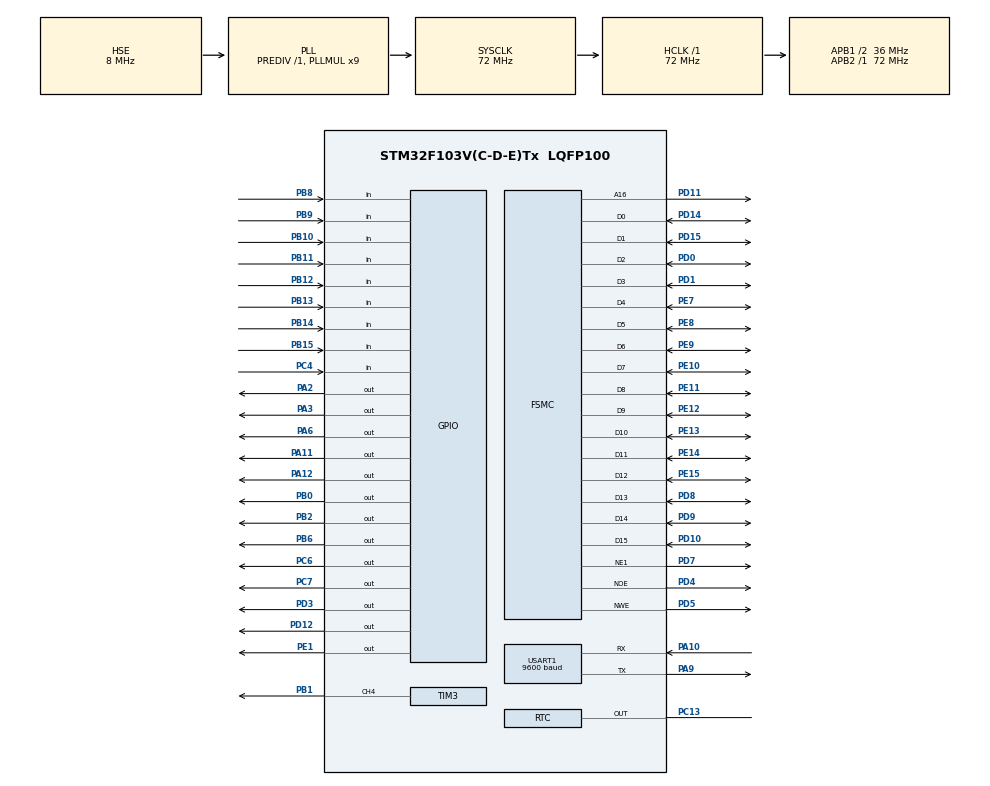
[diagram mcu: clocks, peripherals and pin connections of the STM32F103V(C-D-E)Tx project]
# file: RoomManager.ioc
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Mcu.Family=STM32F1
Mcu.Name=STM32F103V(C-D-E)Tx
Mcu.Package=LQFP100
NVIC.PriorityGroup=NVIC_PRIORITYGROUP_4
NVIC.RTC_Alarm_IRQn=true\:0\:0\:false\:false\:true\:true\:true\:true
OSC_IN.Mode=HSE-External-Oscillator
OSC_IN.Signal=RCC_OSC_IN
OSC_OUT.Mode=HSE-External-Oscillator
OSC_OUT.Signal=RCC_OSC_OUT
PA10.Mode=Asynchronous
PA10.Signal=USART1_RX
PA11.PinState=GPIO_PIN_RESET
PA11.Signal=GPIO_Output
PA12.GPIO_Speed=GPIO_SPEED_FREQ_HIGH
PA12.PinState=GPIO_PIN_RESET
PA12.Signal=GPIO_Output
PA13.Mode=Serial_Wire
PA13.Signal=SYS_JTMS-SWDIO
PA14.Mode=Serial_Wire
PA14.Signal=SYS_JTCK-SWCLK
PA2.Signal=GPIO_Output
PA3.Signal=GPIO_Output
PA6.GPIO_Speed=GPIO_SPEED_FREQ_HIGH
PA6.PinState=GPIO_PIN_SET
PA6.Signal=GPIO_Output
PA7.GPIO_Speed=GPIO_SPEED_FREQ_HIGH
PA7.Signal=S_TIM3_CH2
PA9.Mode=Asynchronous
PA9.Signal=USART1_TX
PB0.GPIO_Speed=GPIO_SPEED_FREQ_MEDIUM
PB0.PinState=GPIO_PIN_SET
PB0.Signal=GPIO_Output
PB1.Signal=S_TIM3_CH4
PB10.Signal=GPIO_Input
PB11.Signal=GPIO_Input
PB12.Signal=GPIO_Input
PB13.Signal=GPIO_Input
PB14.Signal=GPIO_Input
PB15.Signal=GPIO_Input
PB2.Signal=GPIO_Output
PB6.GPIO_Speed=GPIO_SPEED_FREQ_HIGH
PB6.Signal=GPIO_Output
PB8.Signal=GPIO_Input
PB9.Signal=GPIO_Input
PC13-TAMPER-RTC.Mode=RTC OUT
PC13-TAMPER-RTC.Signal=RTC_OUT
PC14-OSC32_IN.Mode=LSE-External-Oscillator
PC14-OSC32_IN.Signal=RCC_OSC32_IN
PC15-OSC32_OUT.Mode=LSE-External-Oscillator
PC15-OSC32_OUT.Signal=RCC_OSC32_OUT
PC4.Signal=GPIO_Input
PC6.Signal=GPIO_Output
PC7.Signal=GPIO_Output
PD0.Mode=16b-d1
PD0.Signal=FSMC_D2
PD1.Mode=16b-d1
PD1.Signal=FSMC_D3
PD10.Mode=16b-d1
PD10.Signal=FSMC_D15
PD11.Mode=A16_1
PD11.Signal=FSMC_A16
PD12.GPIO_Speed=GPIO_SPEED_FREQ_HIGH
PD12.Signal=GPIO_Output
PD14.Mode=16b-d1
PD14.Signal=FSMC_D0
PD15.Mode=16b-d1
PD15.Signal=FSMC_D1
PD3.Signal=GPIO_Output
PD4.Mode=Lcd1
PD4.Signal=FSMC_NOE
PD5.Mode=Lcd1
PD5.Signal=FSMC_NWE
PD7.Mode=NorPsramChipSelect1_1
PD7.Signal=FSMC_NE1
PD8.Mode=16b-d1
PD8.Signal=FSMC_D13
PD9.Mode=16b-d1
PD9.Signal=FSMC_D14
PE1.GPIO_Speed=GPIO_SPEED_FREQ_HIGH
PE1.Signal=GPIO_Output
PE10.Mode=16b-d1
PE10.Signal=FSMC_D7
PE11.Mode=16b-d1
PE11.Signal=FSMC_D8
PE12.Mode=16b-d1
PE12.Signal=FSMC_D9
PE13.Mode=16b-d1
PE13.Signal=FSMC_D10
PE14.Mode=16b-d1
PE14.Signal=FSMC_D11
PE15.Mode=16b-d1
PE15.Signal=FSMC_D12
PE7.Mode=16b-d1
PE7.Signal=FSMC_D4
PE8.Mode=16b-d1
PE8.Signal=FSMC_D5
PE9.Mode=16b-d1
PE9.Signal=FSMC_D6
ProjectManager.HeapSize=0x200
ProjectManager.StackSize=0x400
ProjectManager.TargetToolchain=STM32CubeIDE
RCC.AHBFreq_Value=72000000
RCC.APB1CLKDivider=RCC_HCLK_DIV2
RCC.APB1Freq_Value=36000000
RCC.APB1TimFreq_Value=72000000
RCC.APB2Freq_Value=72000000
RCC.APB2TimFreq_Value=72000000
RCC.HCLKFreq_Value=72000000
RCC.PLLMUL=RCC_PLL_MUL9
RCC.PLLSourceVirtual=RCC_PLLSOURCE_HSE
RCC.SYSCLKFreq_VALUE=72000000
RCC.SYSCLKSource=RCC_SYSCLKSOURCE_PLLCLK
RCC.USBFreq_Value=72000000
RTC.Date=25
RTC.Month=RTC_MONTH_NOVEMBER
RTC.Seconds_A-RTC\ OUT=30
RTC.Year=22
SH.S_TIM3_CH2.0=TIM3_CH2
SH.S_TIM3_CH4.0=TIM3_CH4,PWM Generation4 CH4
TIM2.Period=10
TIM3.Channel-PWM\ Generation4\ CH4=TIM_CHANNEL_4
TIM3.Period=10
TIM3.Pulse-PWM\ Generation4\ CH4=10
USART1.BaudRate=9600
USART1.VirtualMode=VM_ASYNC
VP_RTC_VS_RTC_Activate.Mode=RTC_Enabled
VP_RTC_VS_RTC_Calendar.Mode=RTC_Calendar
VP_TIM2_VS_ClockSourceINT.Mode=Internal
VP_TIM3_VS_ClockSourceINT.Mode=Internal
board=custom

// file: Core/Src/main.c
/* USER CODE BEGIN Header */
/**
  ******************************************************************************
  * @file           : main.c
  * @brief          : Main program body
  ******************************************************************************
  * @attention
  *
  * Copyright (c) 2022 STMicroelectronics.
  * All rights reserved.
  *
  * This software is licensed under terms that can be found in the LICENSE file
  * in the root directory of this software component.
  * If no LICENSE file comes with this software, it is provided AS-IS.
  *
  ******************************************************************************
  */
/* USER CODE END Header */
#include "main.h"

/* USER CODE BEGIN Includes */
#include "lcd.h"
#include "dht.h"
#include "fan.h"
#include "hc05.h"
#include "bsp_ov7725.h"
#include "bsp_sccb.h"

/* USER CODE END Includes */

 RTC_HandleTypeDef hrtc;

TIM_HandleTypeDef htim2;
TIM_HandleTypeDef htim3;

UART_HandleTypeDef huart1;

SRAM_HandleTypeDef hsram1;

/* USER CODE BEGIN PV */
uint8_t alarm_on = 0;
uint8_t ringing = 0;
uint8_t bonus_time = 0;
char rxData;
char rxString[7];
bool FAN_ON = true;
bool LCD_ON = true;
bool ALARM_ON = false;
bool DHT_ON = false;
char strConfig[100] = "";

/* USER CODE END PV */

void SystemClock_Config(void);
static void MX_GPIO_Init(void);
static void MX_FSMC_Init(void);
static void MX_TIM2_Init(void);
static void MX_TIM3_Init(void);
static void MX_RTC_Init(void);
static void MX_USART1_UART_Init(void);

/* USER CODE BEGIN PFP */

void set_time(uint8_t hours, uint8_t minutes, uint8_t seconds);
void set_alarm(uint8_t hours, uint8_t minutes, uint8_t seconds);
void display_time(void);
void HAL_RTC_AlarmAEventCallback(RTC_HandleTypeDef *hrtc);
void ring_alarm(void);
void display_alarm_time(void);

/* USER CODE END PFP */

int main(void)
{

  /* MCU Configuration--------------------------------------------------------*/

  /* Reset of all peripherals, Initializes the Flash interface and the Systick. */
  HAL_Init();

  /* Configure the system clock */
  SystemClock_Config();

  /* Initialize all configured peripherals */
  MX_GPIO_Init();
  MX_FSMC_Init();
  MX_TIM2_Init();
  MX_TIM3_Init();
  MX_RTC_Init();
  MX_USART1_UART_Init();
  /* USER CODE BEGIN 2 */
  LCD_INIT();
  //if(HAL_RTCEx_BKUPRead(&hrtc,RTC_BKP_DR1) != 0xFFFF){
  set_time(0x0,0x0,0x0);
  //}
  set_alarm(0x0,0x0,0x5);
  DWT_Delay_Init();
  DHT_Init(GPIOA,GPIO_PIN_6);
  HAL_TIM_PWM_Start(&htim2, TIM_CHANNEL_4);
  FAN_Init(&htim2,TIM_CHANNEL_4);

//  HAL_UART_Receive_IT(&huart3,rxString, 7);

  /* USER CODE END 2 */

  /* Infinite loop */
  /* USER CODE BEGIN WHILE */
  while (1)
  {
	  if (HAL_UART_Receive(&huart3,(uint8_t*)rxString,7,200)==HAL_OK) {
		  if(checkFanON(rxString)) FAN_ON = true;
		  else if(checkFanOFF(rxString))FAN_ON = false;
		  else if(checkLcdON(rxString)) LCD_ON = true;
		  else if(checkLcdOFF(rxString))LCD_ON = false;
		  else if (checkSummary(rxString)){
			int size = buildSummary(FAN_ON, LCD_ON, strConfig);
			HAL_UART_Transmit(&huart3, (uint8_t*)strConfig, size, 200);
		  }
	  }

	  if (!LCD_ON){
		  continue;
	  }
	  if (DHT_ON){
		  if(DHT_Check()){
//				  DHT_Get_DI() % 10;
				  if (FAN_ON) {
					  user_pwm_setvalue(&htim2, TIM_CHANNEL_4, 10);
				  }
			  }
	  }

    /* USER CODE END WHILE */

    /* USER CODE BEGIN 3 */
	 DHT_Display();
	 display_time();
	 display_alarm_time();

	 if(alarm_on){
		 ring_alarm();
	 }
  }
  /* USER CODE END 3 */
}

void SystemClock_Config(void)
{
  RCC_OscInitTypeDef RCC_OscInitStruct = {0};
  RCC_ClkInitTypeDef RCC_ClkInitStruct = {0};
  RCC_PeriphCLKInitTypeDef PeriphClkInit = {0};

  /** Initializes the RCC Oscillators according to the specified parameters
  * in the RCC_OscInitTypeDef structure.
  */
  RCC_OscInitStruct.OscillatorType = RCC_OSCILLATORTYPE_LSI|RCC_OSCILLATORTYPE_HSE;
  RCC_OscInitStruct.HSEState = RCC_HSE_ON;
  RCC_OscInitStruct.HSEPredivValue = RCC_HSE_PREDIV_DIV1;
  RCC_OscInitStruct.HSIState = RCC_HSI_ON;
  RCC_OscInitStruct.LSIState = RCC_LSI_ON;
  RCC_OscInitStruct.PLL.PLLState = RCC_PLL_ON;
  RCC_OscInitStruct.PLL.PLLSource = RCC_PLLSOURCE_HSE;
  RCC_OscInitStruct.PLL.PLLMUL = RCC_PLL_MUL9;
  if (HAL_RCC_OscConfig(&RCC_OscInitStruct) != HAL_OK)
  {
    Error_Handler();
  }

  /** Initializes the CPU, AHB and APB buses clocks
  */
  RCC_ClkInitStruct.ClockType = RCC_CLOCKTYPE_HCLK|RCC_CLOCKTYPE_SYSCLK
                              |RCC_CLOCKTYPE_PCLK1|RCC_CLOCKTYPE_PCLK2;
  RCC_ClkInitStruct.SYSCLKSource = RCC_SYSCLKSOURCE_PLLCLK;
  RCC_ClkInitStruct.AHBCLKDivider = RCC_SYSCLK_DIV1;
  RCC_ClkInitStruct.APB1CLKDivider = RCC_HCLK_DIV2;
  RCC_ClkInitStruct.APB2CLKDivider = RCC_HCLK_DIV1;

  if (HAL_RCC_ClockConfig(&RCC_ClkInitStruct, FLASH_LATENCY_2) != HAL_OK)
  {
    Error_Handler();
  }
  PeriphClkInit.PeriphClockSelection = RCC_PERIPHCLK_RTC;
  PeriphClkInit.RTCClockSelection = RCC_RTCCLKSOURCE_LSI;
  if (HAL_RCCEx_PeriphCLKConfig(&PeriphClkInit) != HAL_OK)
  {
    Error_Handler();
  }
}

static void MX_RTC_Init(void)
{

  RTC_TimeTypeDef sTime = {0};
  RTC_DateTypeDef DateToUpdate = {0};
  RTC_AlarmTypeDef sAlarm = {0};

  /** Initialize RTC Only
  */
  hrtc.Instance = RTC;
  hrtc.Init.AsynchPrediv = RTC_AUTO_1_SECOND;
  hrtc.Init.OutPut = RTC_OUTPUTSOURCE_ALARM;
  if (HAL_RTC_Init(&hrtc) != HAL_OK)
  {
    Error_Handler();
  }

  /** Initialize RTC and set the Time and Date
  */
  sTime.Hours = 0x0;
  sTime.Minutes = 0x0;
  sTime.Seconds = 0x0;

  if (HAL_RTC_SetTime(&hrtc, &sTime, RTC_FORMAT_BCD) != HAL_OK)
  {
    Error_Handler();
  }
  DateToUpdate.WeekDay = RTC_WEEKDAY_MONDAY;
  DateToUpdate.Month = RTC_MONTH_NOVEMBER;
  DateToUpdate.Date = 0x25;
  DateToUpdate.Year = 0x22;

  if (HAL_RTC_SetDate(&hrtc, &DateToUpdate, RTC_FORMAT_BCD) != HAL_OK)
  {
    Error_Handler();
  }

  /** Enable the Alarm A
  */
  sAlarm.AlarmTime.Hours = 0x0;
  sAlarm.AlarmTime.Minutes = 0x0;
  sAlarm.AlarmTime.Seconds = 0x30;
  sAlarm.Alarm = RTC_ALARM_A;
  if (HAL_RTC_SetAlarm_IT(&hrtc, &sAlarm, RTC_FORMAT_BCD) != HAL_OK)
  {
    Error_Handler();
  }

}

static void MX_TIM2_Init(void)
{

  TIM_ClockConfigTypeDef sClockSourceConfig = {0};
  TIM_MasterConfigTypeDef sMasterConfig = {0};

  htim2.Instance = TIM2;
  htim2.Init.Prescaler = 0;
  htim2.Init.CounterMode = TIM_COUNTERMODE_UP;
  htim2.Init.Period = 10;
  htim2.Init.ClockDivision = TIM_CLOCKDIVISION_DIV1;
  htim2.Init.AutoReloadPreload = TIM_AUTORELOAD_PRELOAD_DISABLE;
  if (HAL_TIM_Base_Init(&htim2) != HAL_OK)
  {
    Error_Handler();
  }
  sClockSourceConfig.ClockSource = TIM_CLOCKSOURCE_INTERNAL;
  if (HAL_TIM_ConfigClockSource(&htim2, &sClockSourceConfig) != HAL_OK)
  {
    Error_Handler();
  }
  sMasterConfig.MasterOutputTrigger = TIM_TRGO_RESET;
  sMasterConfig.MasterSlaveMode = TIM_MASTERSLAVEMODE_DISABLE;
  if (HAL_TIMEx_MasterConfigSynchronization(&htim2, &sMasterConfig) != HAL_OK)
  {
    Error_Handler();
  }

}

static void MX_TIM3_Init(void)
{

  TIM_ClockConfigTypeDef sClockSourceConfig = {0};
  TIM_MasterConfigTypeDef sMasterConfig = {0};
  TIM_OC_InitTypeDef sConfigOC = {0};

  htim3.Instance = TIM3;
  htim3.Init.Prescaler = 0;
  htim3.Init.CounterMode = TIM_COUNTERMODE_UP;
  htim3.Init.Period = 10;
  htim3.Init.ClockDivision = TIM_CLOCKDIVISION_DIV1;
  htim3.Init.AutoReloadPreload = TIM_AUTORELOAD_PRELOAD_DISABLE;
  if (HAL_TIM_Base_Init(&htim3) != HAL_OK)
  {
    Error_Handler();
  }
  sClockSourceConfig.ClockSource = TIM_CLOCKSOURCE_INTERNAL;
  if (HAL_TIM_ConfigClockSource(&htim3, &sClockSourceConfig) != HAL_OK)
  {
    Error_Handler();
  }
  if (HAL_TIM_PWM_Init(&htim3) != HAL_OK)
  {
    Error_Handler();
  }
  sMasterConfig.MasterOutputTrigger = TIM_TRGO_RESET;
  sMasterConfig.MasterSlaveMode = TIM_MASTERSLAVEMODE_DISABLE;
  if (HAL_TIMEx_MasterConfigSynchronization(&htim3, &sMasterConfig) != HAL_OK)
  {
    Error_Handler();
  }
  sConfigOC.OCMode = TIM_OCMODE_PWM1;
  sConfigOC.Pulse = 10;
  sConfigOC.OCPolarity = TIM_OCPOLARITY_HIGH;
  sConfigOC.OCFastMode = TIM_OCFAST_DISABLE;
  if (HAL_TIM_PWM_ConfigChannel(&htim3, &sConfigOC, TIM_CHANNEL_4) != HAL_OK)
  {
    Error_Handler();
  }
  HAL_TIM_MspPostInit(&htim3);

}

static void MX_USART1_UART_Init(void)
{

  huart1.Instance = USART1;
  huart1.Init.BaudRate = 9600;
  huart1.Init.WordLength = UART_WORDLENGTH_8B;
  huart1.Init.StopBits = UART_STOPBITS_1;
  huart1.Init.Parity = UART_PARITY_NONE;
  huart1.Init.Mode = UART_MODE_TX_RX;
  huart1.Init.HwFlowCtl = UART_HWCONTROL_NONE;
  huart1.Init.OverSampling = UART_OVERSAMPLING_16;
  if (HAL_UART_Init(&huart1) != HAL_OK)
  {
    Error_Handler();
  }

}

static void MX_GPIO_Init(void)
{
  GPIO_InitTypeDef GPIO_InitStruct = {0};

  /* GPIO Ports Clock Enable */
  __HAL_RCC_GPIOC_CLK_ENABLE();
  __HAL_RCC_GPIOA_CLK_ENABLE();
  __HAL_RCC_GPIOB_CLK_ENABLE();
  __HAL_RCC_GPIOE_CLK_ENABLE();
  __HAL_RCC_GPIOD_CLK_ENABLE();

  /*Configure GPIO pin Output Level */
  HAL_GPIO_WritePin(GPIOA, GPIO_PIN_2|GPIO_PIN_3|GPIO_PIN_11|GPIO_PIN_12, GPIO_PIN_RESET);

  /*Configure GPIO pin Output Level */
  HAL_GPIO_WritePin(GPIOA, GPIO_PIN_6, GPIO_PIN_SET);

  /*Configure GPIO pin Output Level */
  HAL_GPIO_WritePin(GPIOB, GPIO_PIN_0, GPIO_PIN_SET);

  /*Configure GPIO pin Output Level */
  HAL_GPIO_WritePin(GPIOB, GPIO_PIN_2|GPIO_PIN_6, GPIO_PIN_RESET);

  /*Configure GPIO pin Output Level */
  HAL_GPIO_WritePin(GPIOD, GPIO_PIN_12|GPIO_PIN_3, GPIO_PIN_RESET);

  /*Configure GPIO pin Output Level */
  HAL_GPIO_WritePin(GPIOC, GPIO_PIN_6|GPIO_PIN_7, GPIO_PIN_RESET);

  /*Configure GPIO pin Output Level */
  HAL_GPIO_WritePin(GPIOE, GPIO_PIN_1, GPIO_PIN_RESET);

  /*Configure GPIO pins : PA2 PA3 PA11 */
  GPIO_InitStruct.Pin = GPIO_PIN_2|GPIO_PIN_3|GPIO_PIN_11;
  GPIO_InitStruct.Mode = GPIO_MODE_OUTPUT_PP;
  GPIO_InitStruct.Pull = GPIO_NOPULL;
  GPIO_InitStruct.Speed = GPIO_SPEED_FREQ_LOW;
  HAL_GPIO_Init(GPIOA, &GPIO_InitStruct);

  /*Configure GPIO pins : PA6 PA12 */
  GPIO_InitStruct.Pin = GPIO_PIN_6|GPIO_PIN_12;
  GPIO_InitStruct.Mode = GPIO_MODE_OUTPUT_PP;
  GPIO_InitStruct.Pull = GPIO_NOPULL;
  GPIO_InitStruct.Speed = GPIO_SPEED_FREQ_HIGH;
  HAL_GPIO_Init(GPIOA, &GPIO_InitStruct);

  /*Configure GPIO pin : PC4 */
  GPIO_InitStruct.Pin = GPIO_PIN_4;
  GPIO_InitStruct.Mode = GPIO_MODE_INPUT;
  GPIO_InitStruct.Pull = GPIO_NOPULL;
  HAL_GPIO_Init(GPIOC, &GPIO_InitStruct);

  /*Configure GPIO pin : PB0 */
  GPIO_InitStruct.Pin = GPIO_PIN_0;
  GPIO_InitStruct.Mode = GPIO_MODE_OUTPUT_PP;
  GPIO_InitStruct.Pull = GPIO_NOPULL;
  GPIO_InitStruct.Speed = GPIO_SPEED_FREQ_MEDIUM;
  HAL_GPIO_Init(GPIOB, &GPIO_InitStruct);

  /*Configure GPIO pin : PB2 */
  GPIO_InitStruct.Pin = GPIO_PIN_2;
  GPIO_InitStruct.Mode = GPIO_MODE_OUTPUT_PP;
  GPIO_InitStruct.Pull = GPIO_NOPULL;
  GPIO_InitStruct.Speed = GPIO_SPEED_FREQ_LOW;
  HAL_GPIO_Init(GPIOB, &GPIO_InitStruct);

  /*Configure GPIO pins : PB10 PB11 PB12 PB13
                           PB14 PB15 PB8 PB9 */
  GPIO_InitStruct.Pin = GPIO_PIN_10|GPIO_PIN_11|GPIO_PIN_12|GPIO_PIN_13
                          |GPIO_PIN_14|GPIO_PIN_15|GPIO_PIN_8|GPIO_PIN_9;
  GPIO_InitStruct.Mode = GPIO_MODE_INPUT;
  GPIO_InitStruct.Pull = GPIO_NOPULL;
  HAL_GPIO_Init(GPIOB, &GPIO_InitStruct);

  /*Configure GPIO pin : PD12 */
  GPIO_InitStruct.Pin = GPIO_PIN_12;
  GPIO_InitStruct.Mode = GPIO_MODE_OUTPUT_PP;
  GPIO_InitStruct.Pull = GPIO_NOPULL;
  GPIO_InitStruct.Speed = GPIO_SPEED_FREQ_HIGH;
  HAL_GPIO_Init(GPIOD, &GPIO_InitStruct);

  /*Configure GPIO pins : PC6 PC7 */
  GPIO_InitStruct.Pin = GPIO_PIN_6|GPIO_PIN_7;
  GPIO_InitStruct.Mode = GPIO_MODE_OUTPUT_PP;
  GPIO_InitStruct.Pull = GPIO_NOPULL;
  GPIO_InitStruct.Speed = GPIO_SPEED_FREQ_LOW;
  HAL_GPIO_Init(GPIOC, &GPIO_InitStruct);

  /*Configure GPIO pin : PD3 */
  GPIO_InitStruct.Pin = GPIO_PIN_3;
  GPIO_InitStruct.Mode = GPIO_MODE_OUTPUT_PP;
  GPIO_InitStruct.Pull = GPIO_NOPULL;
  GPIO_InitStruct.Speed = GPIO_SPEED_FREQ_LOW;
  HAL_GPIO_Init(GPIOD, &GPIO_InitStruct);

  /*Configure GPIO pin : PB6 */
  GPIO_InitStruct.Pin = GPIO_PIN_6;
  GPIO_InitStruct.Mode = GPIO_MODE_OUTPUT_PP;
  GPIO_InitStruct.Pull = GPIO_NOPULL;
  GPIO_InitStruct.Speed = GPIO_SPEED_FREQ_HIGH;
  HAL_GPIO_Init(GPIOB, &GPIO_InitStruct);

  /*Configure GPIO pin : PE1 */
  GPIO_InitStruct.Pin = GPIO_PIN_1;
  GPIO_InitStruct.Mode = GPIO_MODE_OUTPUT_PP;
  GPIO_InitStruct.Pull = GPIO_NOPULL;
  GPIO_InitStruct.Speed = GPIO_SPEED_FREQ_HIGH;
  HAL_GPIO_Init(GPIOE, &GPIO_InitStruct);

}

/* FSMC initialization function */
static void MX_FSMC_Init(void)
{

  FSMC_NORSRAM_TimingTypeDef Timing = {0};

  /** Perform the SRAM1 memory initialization sequence
  */
  hsram1.Instance = FSMC_NORSRAM_DEVICE;
  hsram1.Extended = FSMC_NORSRAM_EXTENDED_DEVICE;
  /* hsram1.Init */
  hsram1.Init.NSBank = FSMC_NORSRAM_BANK1;
  hsram1.Init.DataAddressMux = FSMC_DATA_ADDRESS_MUX_DISABLE;
  hsram1.Init.MemoryType = FSMC_MEMORY_TYPE_SRAM;
  hsram1.Init.MemoryDataWidth = FSMC_NORSRAM_MEM_BUS_WIDTH_16;
  hsram1.Init.BurstAccessMode = FSMC_BURST_ACCESS_MODE_DISABLE;
  hsram1.Init.WaitSignalPolarity = FSMC_WAIT_SIGNAL_POLARITY_LOW;
  hsram1.Init.WrapMode = FSMC_WRAP_MODE_DISABLE;
  hsram1.Init.WaitSignalActive = FSMC_WAIT_TIMING_BEFORE_WS;
  hsram1.Init.WriteOperation = FSMC_WRITE_OPERATION_ENABLE;
  hsram1.Init.WaitSignal = FSMC_WAIT_SIGNAL_DISABLE;
  hsram1.Init.ExtendedMode = FSMC_EXTENDED_MODE_DISABLE;
  hsram1.Init.AsynchronousWait = FSMC_ASYNCHRONOUS_WAIT_DISABLE;
  hsram1.Init.WriteBurst = FSMC_WRITE_BURST_DISABLE;
  /* Timing */
  Timing.AddressSetupTime = 15;
  Timing.AddressHoldTime = 15;
  Timing.DataSetupTime = 255;
  Timing.BusTurnAroundDuration = 15;
  Timing.CLKDivision = 16;
  Timing.DataLatency = 17;
  Timing.AccessMode = FSMC_ACCESS_MODE_A;
  /* ExtTiming */

  if (HAL_SRAM_Init(&hsram1, &Timing, NULL) != HAL_OK)
  {
    Error_Handler( );
  }

  /** Disconnect NADV
  */

  __HAL_AFIO_FSMCNADV_DISCONNECTED();

}

/* USER CODE BEGIN 4 */
void user_pwm_setvalue(TIM_HandleTypeDef *htim, uint32_t TIM_CHANNEL, uint16_t value)
{
    TIM_OC_InitTypeDef sConfigOC;
    HAL_TIM_PWM_Stop(htim, TIM_CHANNEL);
    sConfigOC.OCMode = TIM_OCMODE_PWM1;
    sConfigOC.Pulse = value;
    sConfigOC.OCPolarity = TIM_OCPOLARITY_HIGH;
    sConfigOC.OCFastMode = TIM_OCFAST_DISABLE;

    HAL_TIM_PWM_ConfigChannel(htim, &sConfigOC, TIM_CHANNEL);
    HAL_TIM_PWM_Start(htim, TIM_CHANNEL);
}
void set_time(uint8_t hours, uint8_t minutes, uint8_t seconds){
	/** Initialize RTC and set the Time and Date
	  */
	RTC_TimeTypeDef sTime;
	RTC_DateTypeDef DateToUpdate;
	sTime.Hours = hours;
	sTime.Minutes = minutes;
	sTime.Seconds = seconds;

	if (HAL_RTC_SetTime(&hrtc, &sTime, RTC_FORMAT_BCD) != HAL_OK)
	{
		Error_Handler();
	}
	DateToUpdate.WeekDay = RTC_WEEKDAY_THURSDAY;
	DateToUpdate.Month = RTC_MONTH_NOVEMBER;
	DateToUpdate.Date = 0x24;
	DateToUpdate.Year = 0x22;

	if (HAL_RTC_SetDate(&hrtc, &DateToUpdate, RTC_FORMAT_BCD) != HAL_OK)
	{
		Error_Handler();
	}
	HAL_RTCEx_BKUPWrite(&hrtc, RTC_BKP_DR1, 0xFFFF); // backup register
}
void set_alarm(uint8_t hours, uint8_t minutes, uint8_t seconds){
	/** Enable the Alarm A
	*/
	RTC_AlarmTypeDef sAlarm;
	sAlarm.AlarmTime.Hours = hours;
	sAlarm.AlarmTime.Minutes = minutes;
	sAlarm.AlarmTime.Seconds = seconds;
	sAlarm.Alarm = RTC_ALARM_A;
	if (HAL_RTC_SetAlarm(&hrtc, &sAlarm, RTC_FORMAT_BCD) != HAL_OK)
	{
		Error_Handler();
	}
	HAL_RTC_SetAlarm(&hrtc, &sAlarm,RTC_FORMAT_BCD);
  /* USER CODE BEGIN RTC_Init 2 */

  /* USER CODE END RTC_Init 2 */
}

void display_time(void){
	RTC_DateTypeDef gDate;
	RTC_TimeTypeDef gTime;
	char time_buffer[20];
	char date_buffer[20];
	HAL_RTC_GetDate(&hrtc, &gDate, RTC_FORMAT_BIN);
	HAL_RTC_GetTime(&hrtc, &gTime, RTC_FORMAT_BIN);

	sprintf(date_buffer,"%02d-%02d-%02d",2000+gDate.Year, gDate.Month, gDate.Date);
	sprintf(time_buffer,"%02d:%02d:%02d",gTime.Hours, gTime.Minutes, gTime.Seconds);

	LCD_DrawString(20,10,date_buffer);
	LCD_DrawString(20,30,time_buffer);

}

void HAL_RTC_AlarmAEventCallback(RTC_HandleTypeDef *hrtc){
	alarm_on=1;
}

void ring_alarm(void){
	RTC_AlarmTypeDef aTime;
	HAL_RTC_GetAlarm(&hrtc, &aTime, RTC_ALARM_A, RTC_FORMAT_BIN);
	RTC_TimeTypeDef gTime;
	HAL_RTC_GetTime(&hrtc, &gTime, RTC_FORMAT_BIN);

	if(HAL_GPIO_ReadPin(GPIOC,GPIO_PIN_4)){
		bonus_time+=5;
	}
	if(bonus_time==0 && ringing==0){
		LCD_DrawString(20,70,"WAKE UP!!!");
		HAL_GPIO_TogglePin(GPIOA, GPIO_PIN_8);
		ringing = 1;
	}
	if(bonus_time>0){
		HAL_Delay(1000);
		bonus_time--;
	}
	//HAL_GPIO_ReadPin(GPIOB,GPIO_PIN_14);
	//HAL_TIM_PWM_Start(&htim1, TIM_CHANNEL_1);
	//BUZZER
	//TESTING
	if(bonus_time && ringing==1){
		HAL_GPIO_TogglePin(GPIOA, GPIO_PIN_8);
		ringing = 0;
	}
	else if(aTime.AlarmTime.Seconds+30>=59){
		if(gTime.Minutes>aTime.AlarmTime.Minutes && gTime.Seconds>=(aTime.AlarmTime.Seconds+30)%60){
			LCD_DrawString(20,70,"             ");
			alarm_on=0;
			bonus_time=0;
			if(ringing==1){
				HAL_GPIO_TogglePin(GPIOA, GPIO_PIN_8);
				ringing = 0;
			}
		}
	}
	else if(gTime.Seconds>=aTime.AlarmTime.Seconds+30){
		LCD_DrawString(20,70,"             ");
		alarm_on = 0;
		bonus_time=0;
		if(ringing==1){
			HAL_GPIO_TogglePin(GPIOA, GPIO_PIN_8);
			ringing = 0;
		}
	}
}

void display_alarm_time(void){
	RTC_AlarmTypeDef aTime;
	HAL_RTC_GetAlarm(&hrtc, &aTime, RTC_ALARM_A, RTC_FORMAT_BIN);
	char atime_buffer[20];

	sprintf(atime_buffer,"Alarm Time: %02d:%02d:%02d",aTime.AlarmTime.Hours, aTime.AlarmTime.Minutes, aTime.AlarmTime.Seconds);
	char bonus_time_buffer[20];
	sprintf(bonus_time_buffer,"Bonus Time: %02d",bonus_time);
	LCD_DrawString(20,50,atime_buffer);
	LCD_DrawString(20,90,bonus_time_buffer);
}
/* USER CODE END 4 */

void Error_Handler(void)
{
  __disable_irq();
  while (1)
  {
  }
}
